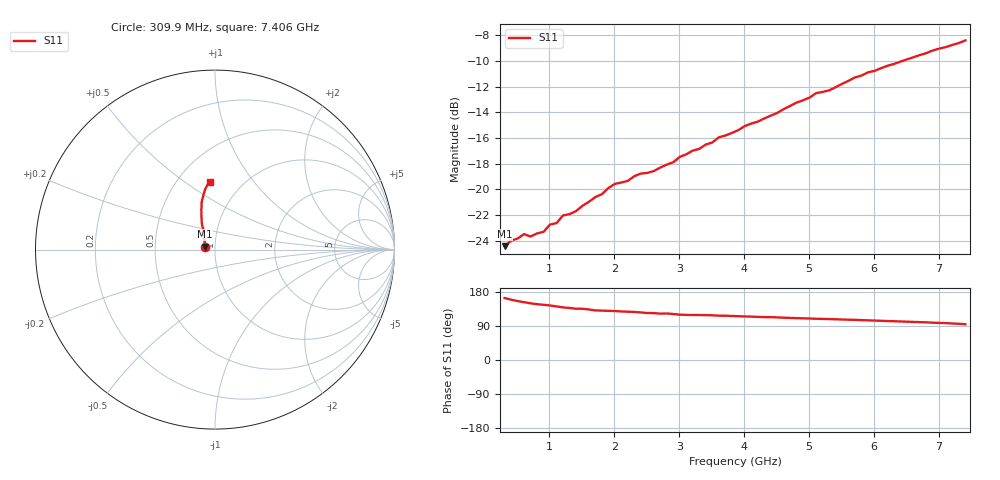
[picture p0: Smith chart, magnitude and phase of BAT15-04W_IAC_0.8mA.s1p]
! Infineon Technologies  Discrete & RF Semiconductors
! BAT15-04W-E6327
! IAC = 0.8 mA
! One-Port S-Parameters
# Hz  S  MA  R  50
!f  S11
!Hz  Mag  Ang
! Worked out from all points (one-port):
!   72 points, 309.9 MHz to 7.406 GHz, reference 50 ohm
!   lowest |S11| = -24.4 dB at 309.9 MHz (marker M1), VSWR 1.13, Z = 44.5 + j1.53 ohm
!   |S11| at or under -10 dB: start of sweep to 6.443 GHz
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3.0985e8  0.0601 163.5
4.098e8  0.06308 159.1
6.097e8  0.06696 152.4
7.0965e8  0.06551 149.7
9.0955e8  0.06833 145.7
1.0095e9  0.07297 143.8
1.10945e9  0.07391 141.4
1.2094e9  0.07914 138.7
1.4093e9  0.08227 135.3
1.8091e9  0.09577 130.3
2.009e9  0.105 129.3
2.10895e9  0.1063 128.1
2.2089e9  0.1079 127.4
2.4088e9  0.1152 125.5
2.6087e9  0.1178 123.7
2.90855e9  0.1275 121.4
3.0085e9  0.1338 119.7
3.50825e9  0.1521 117.9
3.6082e9  0.1593 117.0
3.90805e9  0.1698 115.6
4.8076e9  0.2175 110.4
5.0075e9  0.2276 109.5
5.10745e9  0.2367 108.8
5.30735e9  0.2426 108.0
5.70715e9  0.2727 105.9
6.6067e9  0.3266 100.5
7.10645e9  0.3577 97.3
7.4063e9  0.3795 94.2
